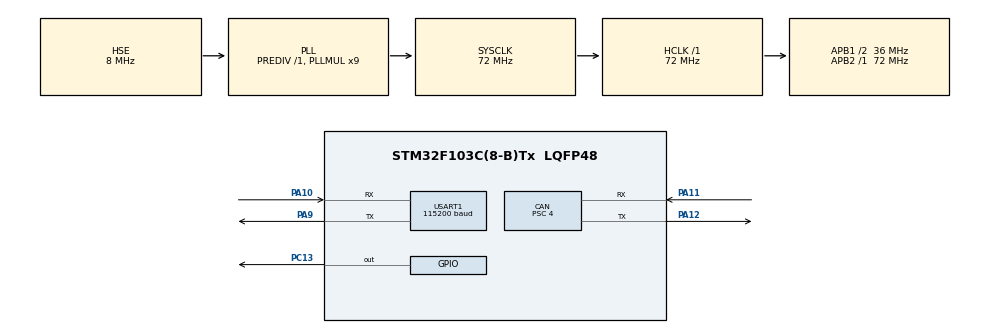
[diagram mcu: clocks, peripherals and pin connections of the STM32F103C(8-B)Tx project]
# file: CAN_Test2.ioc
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CAN.BS1=CAN_BS1_15TQ
CAN.BS2=CAN_BS2_2TQ
CAN.CalculateBaudRate=500000
CAN.CalculateTimeBit=2000
CAN.CalculateTimeQuantum=111.11111111111111
CAN.Prescaler=4
Mcu.Family=STM32F1
Mcu.Name=STM32F103C(8-B)Tx
Mcu.Package=LQFP48
NVIC.PriorityGroup=NVIC_PRIORITYGROUP_4
NVIC.TIM2_IRQn=true\:0\:0\:false\:false\:true\:true\:true\:true
NVIC.TIM3_IRQn=true\:0\:0\:false\:false\:true\:true\:true\:true
NVIC.USART1_IRQn=true\:0\:0\:false\:false\:true\:true\:true\:true
NVIC.USB_HP_CAN1_TX_IRQn=true\:2\:0\:true\:false\:true\:true\:true\:true
NVIC.USB_LP_CAN1_RX0_IRQn=true\:2\:0\:true\:false\:true\:true\:true\:true
PA10.Mode=Asynchronous
PA10.Signal=USART1_RX
PA11.Mode=CAN_Activate
PA11.Signal=CAN_RX
PA12.Mode=CAN_Activate
PA12.Signal=CAN_TX
PA13.Mode=Serial_Wire
PA13.Signal=SYS_JTMS-SWDIO
PA14.Mode=Serial_Wire
PA14.Signal=SYS_JTCK-SWCLK
PA9.Mode=Asynchronous
PA9.Signal=USART1_TX
PC13-TAMPER-RTC.Signal=GPIO_Output
PD0-OSC_IN.Mode=HSE-External-Oscillator
PD0-OSC_IN.Signal=RCC_OSC_IN
PD1-OSC_OUT.Mode=HSE-External-Oscillator
PD1-OSC_OUT.Signal=RCC_OSC_OUT
ProjectManager.HeapSize=0x200
ProjectManager.StackSize=0x400
ProjectManager.TargetToolchain=STM32CubeIDE
RCC.AHBFreq_Value=72000000
RCC.APB1CLKDivider=RCC_HCLK_DIV2
RCC.APB1Freq_Value=36000000
RCC.APB1TimFreq_Value=72000000
RCC.APB2Freq_Value=72000000
RCC.APB2TimFreq_Value=72000000
RCC.HCLKFreq_Value=72000000
RCC.PLLMUL=RCC_PLL_MUL9
RCC.PLLSourceVirtual=RCC_PLLSOURCE_HSE
RCC.SYSCLKFreq_VALUE=72000000
RCC.SYSCLKSource=RCC_SYSCLKSOURCE_PLLCLK
RCC.USBFreq_Value=72000000
TIM2.Period=2399
TIM2.Prescaler=1999
TIM3.Period=3499
TIM3.Prescaler=1999
USART1.BaudRate=115200
USART1.VirtualMode=VM_ASYNC
VP_TIM2_VS_ClockSourceINT.Mode=Internal
VP_TIM3_VS_ClockSourceINT.Mode=Internal
board=custom

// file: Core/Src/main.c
/* USER CODE BEGIN Header */
/**
  ******************************************************************************
  * @file           : main.c
  * @brief          : Main program body
  ******************************************************************************
  * @attention
  *
  * Copyright (c) 2025 STMicroelectronics.
  * All rights reserved.
  *
  * This software is licensed under terms that can be found in the LICENSE file
  * in the root directory of this software component.
  * If no LICENSE file comes with this software, it is provided AS-IS.
  *
  ******************************************************************************
  */
/* USER CODE END Header */
#include "main.h"

CAN_HandleTypeDef hcan;

TIM_HandleTypeDef htim2;
TIM_HandleTypeDef htim3;

UART_HandleTypeDef huart1;

/* USER CODE BEGIN PV */
CAN_TxHeaderTypeDef pTxHeader; //передача
CAN_RxHeaderTypeDef pRxHeader;// приём
uint32_t TxMailbox;
uint8_t i=0, r;
uint8_t TX_data[3], RX_data[3];
CAN_FilterTypeDef sFilterConfig;
uint8_t TX_UART[3], RX_UART[3];
/* USER CODE END PV */

void SystemClock_Config(void);
static void MX_GPIO_Init(void);
static void MX_CAN_Init(void);
static void MX_TIM3_Init(void);
static void MX_USART1_UART_Init(void);
static void MX_TIM2_Init(void);

int main(void)
{

  /* MCU Configuration--------------------------------------------------------*/

  /* Reset of all peripherals, Initializes the Flash interface and the Systick. */
  HAL_Init();

  /* Configure the system clock */
  SystemClock_Config();

  /* Initialize all configured peripherals */
  MX_GPIO_Init();
  MX_CAN_Init();
  MX_TIM3_Init();
  MX_USART1_UART_Init();
  MX_TIM2_Init();
  /* USER CODE BEGIN 2 */
  HAL_TIM_Base_Start_IT(&htim3);
  HAL_TIM_Base_Start_IT(&htim2);
  HAL_GPIO_WritePin(GPIOC, GPIO_PIN_13, GPIO_PIN_SET);
  /* USER CODE END 2 */

  /* Infinite loop */
  /* USER CODE BEGIN WHILE */
  while (1)
  {

	  //HAL_UART_Receive_IT(&huart1, RX_UART,3);
	  HAL_UART_Receive(&huart1,RX_UART,3,50);
	  TX_data[0] = RX_UART[0];
	  TX_data[1] = RX_UART[1];
	  TX_data[2] = RX_UART[2];
	  printf("_%d_%d_%d_\n", (int)RX_data[0], (int)RX_data[1], (int)RX_data[2]);
	 // HAL_Delay(50);
	  TX_UART[0] = RX_data[0];
	  TX_UART[1] = RX_data[1];
	  TX_UART[2] = RX_data[2];

    /* USER CODE END WHILE */

  }
}

void SystemClock_Config(void)
{
  RCC_OscInitTypeDef RCC_OscInitStruct = {0};
  RCC_ClkInitTypeDef RCC_ClkInitStruct = {0};

  /** Initializes the RCC Oscillators according to the specified parameters
  * in the RCC_OscInitTypeDef structure.
  */
  RCC_OscInitStruct.OscillatorType = RCC_OSCILLATORTYPE_HSE;
  RCC_OscInitStruct.HSEState = RCC_HSE_ON;
  RCC_OscInitStruct.HSEPredivValue = RCC_HSE_PREDIV_DIV1;
  RCC_OscInitStruct.HSIState = RCC_HSI_ON;
  RCC_OscInitStruct.PLL.PLLState = RCC_PLL_ON;
  RCC_OscInitStruct.PLL.PLLSource = RCC_PLLSOURCE_HSE;
  RCC_OscInitStruct.PLL.PLLMUL = RCC_PLL_MUL9;
  if (HAL_RCC_OscConfig(&RCC_OscInitStruct) != HAL_OK)
  {
    Error_Handler();
  }

  /** Initializes the CPU, AHB and APB buses clocks
  */
  RCC_ClkInitStruct.ClockType = RCC_CLOCKTYPE_HCLK|RCC_CLOCKTYPE_SYSCLK
                              |RCC_CLOCKTYPE_PCLK1|RCC_CLOCKTYPE_PCLK2;
  RCC_ClkInitStruct.SYSCLKSource = RCC_SYSCLKSOURCE_PLLCLK;
  RCC_ClkInitStruct.AHBCLKDivider = RCC_SYSCLK_DIV1;
  RCC_ClkInitStruct.APB1CLKDivider = RCC_HCLK_DIV2;
  RCC_ClkInitStruct.APB2CLKDivider = RCC_HCLK_DIV1;

  if (HAL_RCC_ClockConfig(&RCC_ClkInitStruct, FLASH_LATENCY_2) != HAL_OK)
  {
    Error_Handler();
  }
}

static void MX_CAN_Init(void)
{

  hcan.Instance = CAN1;
  hcan.Init.Prescaler = 4;
  hcan.Init.Mode = CAN_MODE_NORMAL;
  hcan.Init.SyncJumpWidth = CAN_SJW_1TQ;
  hcan.Init.TimeSeg1 = CAN_BS1_15TQ;
  hcan.Init.TimeSeg2 = CAN_BS2_2TQ;
  hcan.Init.TimeTriggeredMode = DISABLE;
  hcan.Init.AutoBusOff = DISABLE;
  hcan.Init.AutoWakeUp = DISABLE;
  hcan.Init.AutoRetransmission = DISABLE;
  hcan.Init.ReceiveFifoLocked = DISABLE;
  hcan.Init.TransmitFifoPriority = DISABLE;
  if (HAL_CAN_Init(&hcan) != HAL_OK)
  {
    Error_Handler();
  }
  /* USER CODE BEGIN CAN_Init 2 */
  pTxHeader.DLC = 4;
  pTxHeader.IDE = CAN_ID_STD;
  pTxHeader.RTR = CAN_RTR_DATA;
  pTxHeader.StdId = 0x0002;
  pTxHeader.TransmitGlobalTime = DISABLE;

  sFilterConfig.FilterBank = 0;
  sFilterConfig.FilterMode = CAN_FILTERMODE_IDLIST;
  sFilterConfig.FilterFIFOAssignment = CAN_RX_FIFO0;
  sFilterConfig.SlaveStartFilterBank = 0;
  sFilterConfig.FilterIdHigh = 0x00fe<<5;
  sFilterConfig.FilterIdLow = 0x0002<<5;
  sFilterConfig.FilterMaskIdHigh = 0x00003<<5;
  sFilterConfig.FilterMaskIdLow = 0x0004<<5;
  sFilterConfig.FilterScale = CAN_FILTERSCALE_16BIT;
  sFilterConfig.FilterActivation = ENABLE;

  if (HAL_CAN_ConfigFilter(&hcan, &sFilterConfig)!= HAL_OK)
  {
	  Error_Handler();
  }

  if(HAL_CAN_Start(&hcan)!= HAL_OK)
  {
	  Error_Handler();
  }

  if(HAL_CAN_ActivateNotification(&hcan, CAN_IT_RX_FIFO0_MSG_PENDING | CAN_IT_TX_MAILBOX_EMPTY) != HAL_OK)
  {
	  Error_Handler();
  }
  /* USER CODE END CAN_Init 2 */

}

static void MX_TIM2_Init(void)
{

  TIM_ClockConfigTypeDef sClockSourceConfig = {0};
  TIM_MasterConfigTypeDef sMasterConfig = {0};

  htim2.Instance = TIM2;
  htim2.Init.Prescaler = 1999;
  htim2.Init.CounterMode = TIM_COUNTERMODE_UP;
  htim2.Init.Period = 2399;
  htim2.Init.ClockDivision = TIM_CLOCKDIVISION_DIV1;
  htim2.Init.AutoReloadPreload = TIM_AUTORELOAD_PRELOAD_DISABLE;
  if (HAL_TIM_Base_Init(&htim2) != HAL_OK)
  {
    Error_Handler();
  }
  sClockSourceConfig.ClockSource = TIM_CLOCKSOURCE_INTERNAL;
  if (HAL_TIM_ConfigClockSource(&htim2, &sClockSourceConfig) != HAL_OK)
  {
    Error_Handler();
  }
  sMasterConfig.MasterOutputTrigger = TIM_TRGO_RESET;
  sMasterConfig.MasterSlaveMode = TIM_MASTERSLAVEMODE_DISABLE;
  if (HAL_TIMEx_MasterConfigSynchronization(&htim2, &sMasterConfig) != HAL_OK)
  {
    Error_Handler();
  }

}

static void MX_TIM3_Init(void)
{

  TIM_ClockConfigTypeDef sClockSourceConfig = {0};
  TIM_MasterConfigTypeDef sMasterConfig = {0};

  htim3.Instance = TIM3;
  htim3.Init.Prescaler = 1999;
  htim3.Init.CounterMode = TIM_COUNTERMODE_UP;
  htim3.Init.Period = 3499;
  htim3.Init.ClockDivision = TIM_CLOCKDIVISION_DIV1;
  htim3.Init.AutoReloadPreload = TIM_AUTORELOAD_PRELOAD_DISABLE;
  if (HAL_TIM_Base_Init(&htim3) != HAL_OK)
  {
    Error_Handler();
  }
  sClockSourceConfig.ClockSource = TIM_CLOCKSOURCE_INTERNAL;
  if (HAL_TIM_ConfigClockSource(&htim3, &sClockSourceConfig) != HAL_OK)
  {
    Error_Handler();
  }
  sMasterConfig.MasterOutputTrigger = TIM_TRGO_RESET;
  sMasterConfig.MasterSlaveMode = TIM_MASTERSLAVEMODE_DISABLE;
  if (HAL_TIMEx_MasterConfigSynchronization(&htim3, &sMasterConfig) != HAL_OK)
  {
    Error_Handler();
  }

}

static void MX_USART1_UART_Init(void)
{

  huart1.Instance = USART1;
  huart1.Init.BaudRate = 115200;
  huart1.Init.WordLength = UART_WORDLENGTH_8B;
  huart1.Init.StopBits = UART_STOPBITS_1;
  huart1.Init.Parity = UART_PARITY_NONE;
  huart1.Init.Mode = UART_MODE_TX_RX;
  huart1.Init.HwFlowCtl = UART_HWCONTROL_NONE;
  huart1.Init.OverSampling = UART_OVERSAMPLING_16;
  if (HAL_UART_Init(&huart1) != HAL_OK)
  {
    Error_Handler();
  }

}

static void MX_GPIO_Init(void)
{
  GPIO_InitTypeDef GPIO_InitStruct = {0};

  /* GPIO Ports Clock Enable */
  __HAL_RCC_GPIOC_CLK_ENABLE();
  __HAL_RCC_GPIOD_CLK_ENABLE();
  __HAL_RCC_GPIOA_CLK_ENABLE();

  /*Configure GPIO pin Output Level */
  HAL_GPIO_WritePin(GPIOC, GPIO_PIN_13, GPIO_PIN_RESET);

  /*Configure GPIO pin : PC13 */
  GPIO_InitStruct.Pin = GPIO_PIN_13;
  GPIO_InitStruct.Mode = GPIO_MODE_OUTPUT_PP;
  GPIO_InitStruct.Pull = GPIO_NOPULL;
  GPIO_InitStruct.Speed = GPIO_SPEED_FREQ_LOW;
  HAL_GPIO_Init(GPIOC, &GPIO_InitStruct);

}

/* USER CODE BEGIN 4 */
void HAL_CAN_RxFifo0MsgPendingCallback(CAN_HandleTypeDef *hcan)
{
	if(HAL_CAN_GetRxMessage(hcan, CAN_RX_FIFO0, &pRxHeader, RX_data) != HAL_OK)
	{
		Error_Handler();
	}

}

void HAL_TIM_PeriodElapsedCallback(TIM_HandleTypeDef *htim)
{
	if(htim->Instance == TIM3){
		//for(int n = 0; n < 1000000; n++);

			HAL_CAN_AddTxMessage(&hcan, &pTxHeader, TX_data, &TxMailbox);

		HAL_GPIO_TogglePin(GPIOC, GPIO_PIN_13);
	}

	if(htim->Instance == TIM2)
	{
		HAL_UART_Transmit_IT(&huart1, TX_UART, 3);
	}
}
/* USER CODE END 4 */

void Error_Handler(void)
{
  __disable_irq();
  while (1)
  {
  }
}
